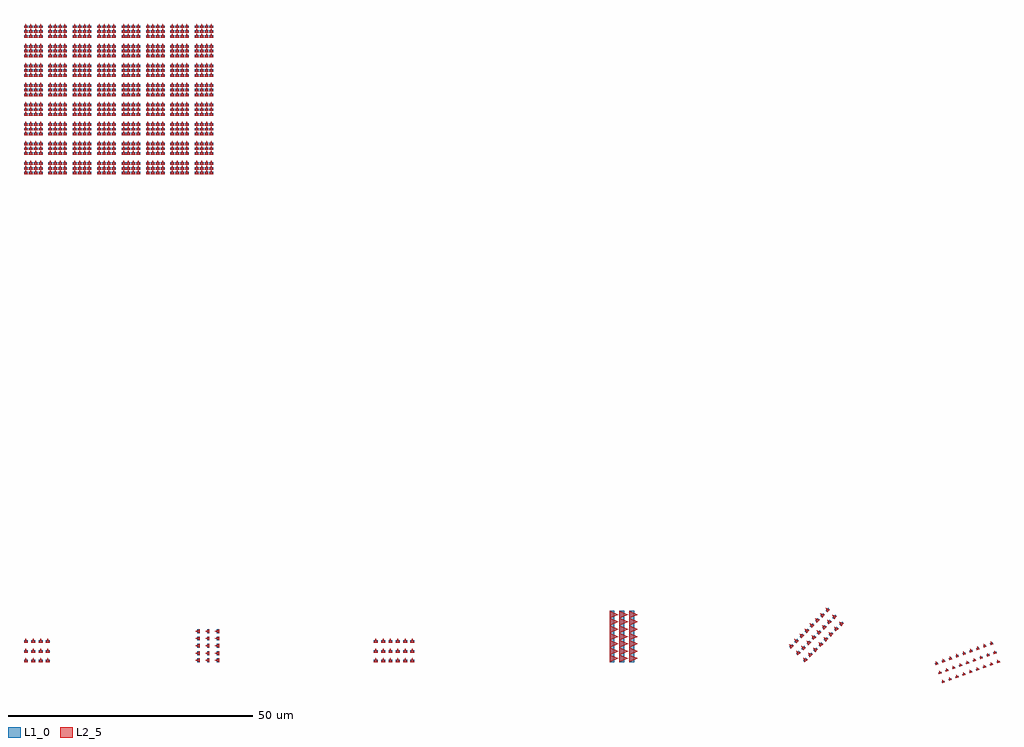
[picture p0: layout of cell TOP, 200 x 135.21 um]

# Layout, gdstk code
from math import pi, radians
import gdstk
lib = gdstk.Library(unit=1e-6, precision=1e-09)
def R(c, l, rs):  # rectangles x0, y0, x1, y1
    for r in rs: c.add(gdstk.rectangle(r[:2], r[2:], *l))
def P(c, l, *ps):  # polygons
    for p in ps: c.add(gdstk.Polygon(p, *l))
L1_0 = (1, 0)
L2_5 = (2, 5)

unit = lib.new_cell('UNIT')
R(unit, L1_0, [(0,0,0.8,0.5)])
P(unit, L2_5, [(0,0),(0.4,0.9),(0.8,0)])

big = lib.new_cell('BIG')
r = gdstk.Reference(unit, (0,0)); r.repetition = gdstk.Repetition(4, 3, v1=(1,0), v2=(0,1)); big.add(r)

top = lib.new_cell('TOP')
r = gdstk.Reference(unit, (0,0)); r.repetition = gdstk.Repetition(4, 3, v1=(1.5,0), v2=(0,2)); top.add(r)
r = gdstk.Reference(unit, (40,0), rotation=pi/2); r.repetition = gdstk.Repetition(5, 3, v1=(0,1.5), v2=(-2,0)); top.add(r)
r = gdstk.Reference(unit, (80,0), rotation=pi, x_reflection=True); r.repetition = gdstk.Repetition(6, 3, v1=(-1.5,0), v2=(0,2)); top.add(r)
r = gdstk.Reference(unit, (120,0), rotation=pi/2, magnification=2, x_reflection=True); r.repetition = gdstk.Repetition(7, 3, v1=(0,1.5), v2=(2,0)); top.add(r)
r = gdstk.Reference(unit, (160,0), rotation=radians(45)); r.repetition = gdstk.Repetition(8, 3, v1=(1.0606,1.0606), v2=(-1.4143,1.4143)); top.add(r)
r = gdstk.Reference(unit, (200,0), rotation=radians(200), magnification=0.75, x_reflection=True); r.repetition = gdstk.Repetition(9, 3, v1=(-1.4096,-0.513), v2=(-0.684,1.8793)); top.add(r)
r = gdstk.Reference(big, (0,100)); r.repetition = gdstk.Repetition(8, 8, v1=(5,0), v2=(0,4)); top.add(r)

lib.write_gds('TOP.gds')
